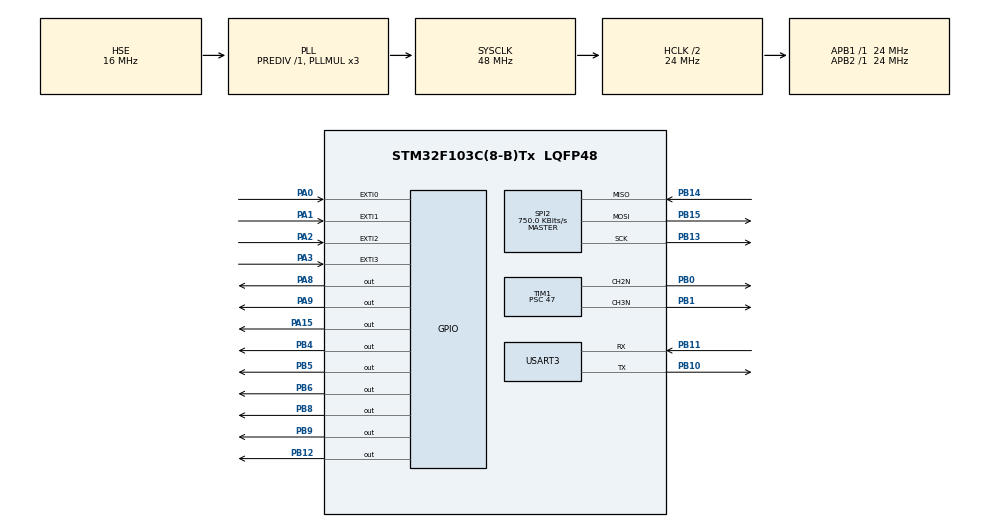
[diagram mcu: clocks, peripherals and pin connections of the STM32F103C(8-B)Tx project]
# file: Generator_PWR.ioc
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Mcu.Family=STM32F1
Mcu.Name=STM32F103C(8-B)Tx
Mcu.Package=LQFP48
NVIC.EXTI0_IRQn=true\:0\:0\:false\:false\:true\:true\:true
NVIC.EXTI1_IRQn=true\:0\:0\:false\:false\:true\:true\:true
NVIC.EXTI2_IRQn=true\:0\:0\:false\:false\:true\:true\:true
NVIC.EXTI3_IRQn=true\:0\:0\:false\:false\:true\:true\:true
NVIC.PriorityGroup=NVIC_PRIORITYGROUP_4
NVIC.TIM2_IRQn=true\:0\:0\:false\:false\:true\:true\:true
NVIC.TIM3_IRQn=true\:0\:0\:false\:false\:true\:true\:true
NVIC.TIM4_IRQn=true\:0\:0\:false\:false\:true\:true\:true
NVIC.USART3_IRQn=true\:0\:0\:false\:false\:true\:true\:true
PA0-WKUP.Signal=GPXTI0
PA1.Signal=GPXTI1
PA13.Mode=Serial_Wire
PA13.Signal=SYS_JTMS-SWDIO
PA14.Mode=Serial_Wire
PA14.Signal=SYS_JTCK-SWCLK
PA15.GPIO_PuPd=GPIO_PULLDOWN
PA15.GPIO_Speed=GPIO_SPEED_FREQ_MEDIUM
PA15.Signal=GPIO_Output
PA2.GPIO_ModeDefaultEXTI=GPIO_MODE_IT_FALLING
PA2.GPIO_PuPd=GPIO_PULLUP
PA2.Signal=GPXTI2
PA3.GPIO_ModeDefaultEXTI=GPIO_MODE_IT_FALLING
PA3.GPIO_PuPd=GPIO_PULLUP
PA3.Signal=GPXTI3
PA8.GPIO_PuPd=GPIO_PULLDOWN
PA8.GPIO_Speed=GPIO_SPEED_FREQ_MEDIUM
PA8.Signal=GPIO_Output
PA9.GPIO_PuPd=GPIO_PULLDOWN
PA9.GPIO_Speed=GPIO_SPEED_FREQ_MEDIUM
PA9.Signal=GPIO_Output
PB0.Mode=PWM Generation2 CH2N
PB0.Signal=TIM1_CH2N
PB1.Mode=PWM Generation3 CH3N
PB1.Signal=TIM1_CH3N
PB10.Mode=Asynchronous
PB10.Signal=USART3_TX
PB11.Mode=Asynchronous
PB11.Signal=USART3_RX
PB12.GPIO_PuPd=GPIO_PULLDOWN
PB12.GPIO_Speed=GPIO_SPEED_FREQ_MEDIUM
PB12.PinState=GPIO_PIN_RESET
PB12.Signal=GPIO_Output
PB13.Mode=Full_Duplex_Master
PB13.Signal=SPI2_SCK
PB14.Mode=Full_Duplex_Master
PB14.Signal=SPI2_MISO
PB15.Mode=Full_Duplex_Master
PB15.Signal=SPI2_MOSI
PB4.GPIO_PuPd=GPIO_PULLDOWN
PB4.GPIO_Speed=GPIO_SPEED_FREQ_MEDIUM
PB4.Signal=GPIO_Output
PB5.GPIO_PuPd=GPIO_PULLDOWN
PB5.GPIO_Speed=GPIO_SPEED_FREQ_MEDIUM
PB5.Signal=GPIO_Output
PB6.GPIO_PuPd=GPIO_PULLDOWN
PB6.GPIO_Speed=GPIO_SPEED_FREQ_MEDIUM
PB6.Signal=GPIO_Output
PB8.GPIO_PuPd=GPIO_PULLDOWN
PB8.GPIO_Speed=GPIO_SPEED_FREQ_MEDIUM
PB8.Signal=GPIO_Output
PB9.GPIO_PuPd=GPIO_PULLDOWN
PB9.GPIO_Speed=GPIO_SPEED_FREQ_MEDIUM
PB9.Signal=GPIO_Output
PD0-OSC_IN.Mode=HSE-External-Oscillator
PD0-OSC_IN.Signal=RCC_OSC_IN
PD1-OSC_OUT.Mode=HSE-External-Oscillator
PD1-OSC_OUT.Signal=RCC_OSC_OUT
ProjectManager.HeapSize=0x200
ProjectManager.StackSize=0x400
ProjectManager.TargetToolchain=Makefile
RCC.AHBCLKDivider=RCC_SYSCLK_DIV2
RCC.AHBFreq_Value=24000000
RCC.APB1Freq_Value=24000000
RCC.APB1TimFreq_Value=24000000
RCC.APB2Freq_Value=24000000
RCC.APB2TimFreq_Value=24000000
RCC.HCLKFreq_Value=24000000
RCC.HSE_VALUE=16000000
RCC.PLLMUL=RCC_PLL_MUL3
RCC.PLLSourceVirtual=RCC_PLLSOURCE_HSE
RCC.SYSCLKFreq_VALUE=48000000
RCC.SYSCLKSource=RCC_SYSCLKSOURCE_PLLCLK
RCC.USBFreq_Value=48000000
SPI2.BaudRatePrescaler=SPI_BAUDRATEPRESCALER_32
SPI2.CalculateBaudRate=750.0 KBits/s
SPI2.DataSize=SPI_DATASIZE_16BIT
SPI2.Direction=SPI_DIRECTION_2LINES
SPI2.Mode=SPI_MODE_MASTER
SPI2.VirtualType=VM_MASTER
TIM1.BreakPolarity=TIM_BREAKPOLARITY_HIGH
TIM1.Channel-PWM\ Generation2\ CH2N=TIM_CHANNEL_2
TIM1.Channel-PWM\ Generation3\ CH3N=TIM_CHANNEL_3
TIM1.OC2Preload_PWM=ENABLE
TIM1.OC3Preload_PWM=ENABLE
TIM1.OCMode_PWM-PWM\ Generation2\ CH2N=TIM_OCMODE_PWM2
TIM1.OCMode_PWM-PWM\ Generation3\ CH3N=TIM_OCMODE_PWM2
TIM1.OCNPolarity_2=TIM_OCNPOLARITY_HIGH
TIM1.OCNPolarity_3=TIM_OCNPOLARITY_HIGH
TIM1.Period=10000
TIM1.Prescaler=47
TIM1.Pulse-PWM\ Generation2\ CH2N=9975
TIM1.Pulse-PWM\ Generation3\ CH3N=9975
TIM1.RepetitionCounter=4
TIM2.Period=49
TIM2.Prescaler=23
TIM3.Period=49
TIM3.Prescaler=23
TIM4.Period=49
TIM4.Prescaler=23
USART3.VirtualMode=VM_ASYNC
VP_TIM1_VS_OPM.Mode=OPM_bit
VP_TIM2_VS_ClockSourceINT.Mode=Internal
VP_TIM3_VS_ClockSourceINT.Mode=Internal
VP_TIM4_VS_ClockSourceINT.Mode=Internal
board=custom

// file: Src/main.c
/* USER CODE BEGIN Header */
/**
  ******************************************************************************
  * @file           : main.c
  * @brief          : Main program body
  ******************************************************************************
  * @attention
  *
  * <h2><center>&copy; Copyright (c) 2021 STMicroelectronics.
  * All rights reserved.</center></h2>
  *
  * This software component is licensed by ST under BSD 3-Clause license,
  * the "License"; You may not use this file except in compliance with the
  * License. You may obtain a copy of the License at:
  *                        opensource.org/licenses/BSD-3-Clause
  *
  ******************************************************************************
  */
/* USER CODE END Header */
#include "main.h"
#include "spi.h"
#include "tim.h"
#include "usart.h"
#include "gpio.h"

/* USER CODE BEGIN Includes */
#include "mb.h"
#include "mbport.h"
#include "user_mb_app.h"

#include "FunctionsTxRx.h"
#include "Flash.h"
#include "mode.h"
#include "measuring_vd_vz.h"
/* USER CODE END Includes */

/* USER CODE BEGIN PTD */
extern uint16_t usSRegInBuf[];
extern uint16_t usSRegHoldBuf[];

int operatingMode, Start, RecordFlash = 0;
float add1 = 0;
/* USER CODE END PTD */

void SystemClock_Config(void);

int main(void)
{

  /* MCU Configuration--------------------------------------------------------*/

  /* Reset of all peripherals, Initializes the Flash interface and the Systick. */
  HAL_Init();

  /* Configure the system clock */
  SystemClock_Config();

  /* Initialize all configured peripherals */
  MX_GPIO_Init();
  MX_SPI2_Init();
  MX_TIM1_Init();
  MX_TIM4_Init();
  MX_USART3_UART_Init();
  MX_TIM2_Init();
  MX_TIM3_Init();
  /* USER CODE BEGIN 2 */

  ISTD_ON;	ISTZ_ON;

	eMBInit(MB_RTU, 2, &huart3, 115200, &htim4);
	eMBEnable();

  /* USER CODE END 2 */

  /* Infinite loop */
  /* USER CODE BEGIN WHILE */
  while (1) {
    operatingMode = usSRegHoldBuf[0];
	  Start = usSRegHoldBuf[1];

	  switch (operatingMode) {
		  case 3:
		  WaitingMode();
		  break;

		  case 1:
		  LED_Cathode_VZ_OFF; LED_VZ_OFF;
      LED_Cathode_VD_ON;  LED_VD_ON;          //Светодиод режима диода //Светодиод катод диода

			  if (Start == 1) {
          StaticMeasurementMode_VD();
			  }
			  if (Start == 2) {
				  PulseMeasurementMode_VD();
			  }
		  break;

		  case 2:
      LED_Cathode_VD_OFF; LED_VD_OFF;
      LED_Cathode_VZ_ON;  LED_VZ_ON;   //Светодиод катода VZ //Светодиод режима VZ

			  if (Start == 3) {
				  StaticMeasurementMode_VZ();
			  }
			  if (Start == 4) {
				  PulseMeasurementMode_VZ();
			  }
		  break;

		  case 5:
		  WaitingMode();
		  diagnostic();
		  usSRegHoldBuf[0] = 0;
		  break;

      case 6:
      add1 = dataReception (4);
      dataTransfer(12, add1);

      RecordFlash = usSRegHoldBuf[6];
      if (RecordFlash == 26) {
        //WritingToFlash();
       }
      break;
	  }
	  HAL_Delay(20);
	  eMBPoll();
    /* USER CODE END WHILE */

  }
}

void SystemClock_Config(void)
{
  RCC_OscInitTypeDef RCC_OscInitStruct = {0};
  RCC_ClkInitTypeDef RCC_ClkInitStruct = {0};

  /** Initializes the RCC Oscillators according to the specified parameters
  * in the RCC_OscInitTypeDef structure.
  */
  RCC_OscInitStruct.OscillatorType = RCC_OSCILLATORTYPE_HSE;
  RCC_OscInitStruct.HSEState = RCC_HSE_ON;
  RCC_OscInitStruct.HSEPredivValue = RCC_HSE_PREDIV_DIV1;
  RCC_OscInitStruct.HSIState = RCC_HSI_ON;
  RCC_OscInitStruct.PLL.PLLState = RCC_PLL_ON;
  RCC_OscInitStruct.PLL.PLLSource = RCC_PLLSOURCE_HSE;
  RCC_OscInitStruct.PLL.PLLMUL = RCC_PLL_MUL3;
  if (HAL_RCC_OscConfig(&RCC_OscInitStruct) != HAL_OK)
  {
    Error_Handler();
  }
  /** Initializes the CPU, AHB and APB buses clocks
  */
  RCC_ClkInitStruct.ClockType = RCC_CLOCKTYPE_HCLK|RCC_CLOCKTYPE_SYSCLK
                              |RCC_CLOCKTYPE_PCLK1|RCC_CLOCKTYPE_PCLK2;
  RCC_ClkInitStruct.SYSCLKSource = RCC_SYSCLKSOURCE_PLLCLK;
  RCC_ClkInitStruct.AHBCLKDivider = RCC_SYSCLK_DIV2;
  RCC_ClkInitStruct.APB1CLKDivider = RCC_HCLK_DIV1;
  RCC_ClkInitStruct.APB2CLKDivider = RCC_HCLK_DIV1;

  if (HAL_RCC_ClockConfig(&RCC_ClkInitStruct, FLASH_LATENCY_1) != HAL_OK)
  {
    Error_Handler();
  }
}

void Error_Handler(void)
{
  __disable_irq();
  while (1)
  {
  }
}

/************************ (C) COPYRIGHT STMicroelectronics *****END OF FILE****/
